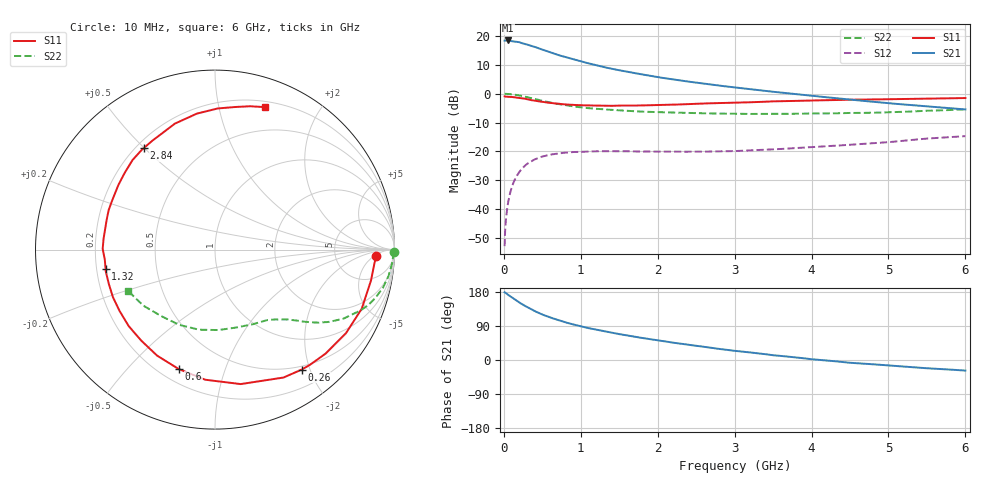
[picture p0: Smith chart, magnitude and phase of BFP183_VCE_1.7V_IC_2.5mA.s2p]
! Infineon Technologies  Discrete & RF Semiconductors
! BFP183
! VCE = 1.7 V,  IC =  2.5 mA
! Common Emitter S-Parameters:  Jan 2016
# GHz  S  MA  R  50
!  f  S11  S21  S12  S22
! GHz  MAG  ANG  MAG  ANG  MAG  ANG  MAG  ANG
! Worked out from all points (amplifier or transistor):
!   210 points, 10 MHz to 6 GHz, reference 50 ohm
!   highest |S21| = 18.4 dB at 50 MHz (marker M1)
!   |S21| within 3 dB of that: start of sweep to 482.4 MHz
!   unconditionally stable (mu >= 1): 1.933 GHz to 5.952 GHz
!   at 185 MHz: K = 0.11, MSG = 22.8 dB, |S12| = -27.7 dB
!   at 1.52 GHz: K = 0.79, MSG = 14.0 dB, |S12| = -19.9 dB
!   at 6 GHz: K = 0.99, MSG = 4.6 dB, |S12| = -14.7 dB
!   S11 on the Smith chart (normalised r, x): 10 MHz: 17, -6; 260 MHz: 0.45, -1.87; 600 MHz: 0.27, -0.70; 1.32 GHz: 0.24, -0.08; 2.84 GHz: 0.23, +0.50; 6 GHz: 0.25, +1.38
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0.01  0.8999 -2.3  8.268 178.8  0.0023 88.1  0.9973 -0.8
0.02  0.892 -4.7  8.296 177.6  0.0051 85.6  0.9941 -1.8
0.05  0.8861 -11.2  8.338 172.8  0.0118 86.0  0.9898 -4.4
0.11  0.876 -24.0  8.074 164.3  0.0255 76.1  0.9739 -9.5
0.15  0.8657 -32.5  7.973 158.6  0.0343 71.9  0.9594 -12.9
0.2  0.8456 -43.3  7.784 151.7  0.044 66.6  0.9335 -16.7
0.26  0.8245 -54.2  7.319 144.5  0.0544 60.3  0.8987 -20.8
0.3  0.8087 -61.8  7.105 140.1  0.0608 56.9  0.8733 -23.1
0.4  0.7628 -79.2  6.476 128.8  0.0729 48.4  0.811 -28.4
0.5  0.727 -94.3  5.794 119.8  0.0818 41.7  0.7529 -32.3
0.6  0.6955 -106.9  5.233 112.2  0.0881 36.5  0.7064 -35.2
0.7  0.6729 -118.7  4.694 105.5  0.0922 32.0  0.665 -37.5
0.8  0.6527 -129.0  4.312 99.3  0.0956 28.6  0.6327 -39.3
1.02  0.6302 -148.8  3.562 87.9  0.0988 22.7  0.5759 -42.8
1.32  0.6192 -169.8  2.845 75.4  0.1011 17.4  0.5337 -46.8
1.6  0.6238 174.5  2.401 64.9  0.1011 15.0  0.507 -50.4
2.02  0.6352 154.2  1.915 51.3  0.0997 14.1  0.479 -56.8
2.84  0.6908 125.0  1.36 28.3  0.1007 16.7  0.4519 -72.5
3.1  0.7043 117.5  1.24 22.2  0.103 18.3  0.4474 -78.4
4.1  0.7673 95.8  0.893 0.4  0.1208 22.7  0.4546 -104.1
5.1  0.8058 80.7  0.667 -15.7  0.1494 23.7  0.4805 -131.7
6  0.8405 70.8  0.534 -27.9  0.1843 18.3  0.536 -154.5
